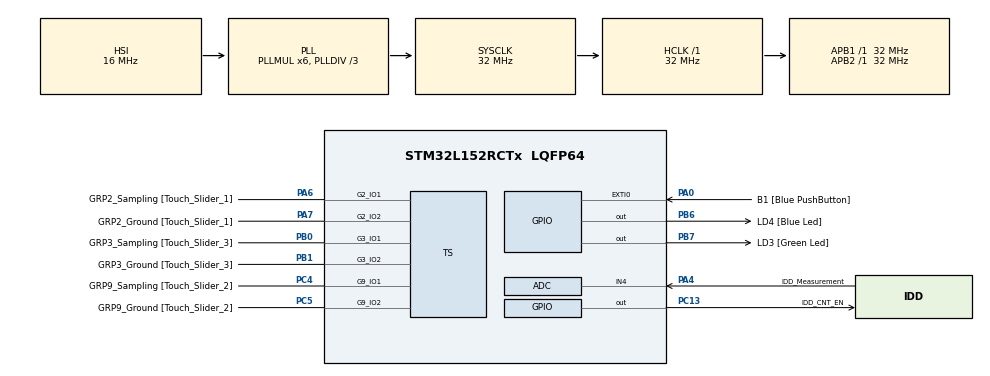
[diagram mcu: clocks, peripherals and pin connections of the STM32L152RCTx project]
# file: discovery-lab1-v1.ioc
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ADC.Channel=ADC_CHANNEL_4
ADC.Channel-0\#ChannelRegularConversion=ADC_CHANNEL_4
ADC.Channel-IN4=ADC_CHANNEL_4
ADC.ExternalTrigConv=ADC_EXTERNALTRIGCONV_T2_CC3
ADC.ExternalTrigConv-0\#ChannelRegularConversion=ADC_SOFTWARE_START
ADC.ExternalTrigConvEdge=ADC_EXTERNALTRIGCONVEDGE_RISING
ADC.Rank-0\#ChannelRegularConversion=1
ADC.SamplingTime-0\#ChannelRegularConversion=ADC_SAMPLETIME_4CYCLES
Mcu.Family=STM32L1
Mcu.Name=STM32L152RCTx
Mcu.Package=LQFP64
NVIC.PriorityGroup=NVIC_PRIORITYGROUP_0
PA0-WKUP1.GPIO_Label=B1 [Blue PushButton]
PA0-WKUP1.GPIO_ModeDefaultEXTI=GPIO_MODE_EVT_RISING
PA0-WKUP1.GPIO_PuPd=GPIO_NOPULL
PA0-WKUP1.Signal=GPXTI0
PA1.GPIO_Label=SEG0 [GH08172T_SEG0]
PA1.GPIO_Mode=GPIO_MODE_AF_PP
PA1.GPIO_PuPd=GPIO_NOPULL
PA1.GPIO_Speed=GPIO_SPEED_FREQ_LOW
PA1.Signal=LCD_SEG0
PA10.GPIO_Label=COM2 [GH08172T_COM2]
PA10.GPIO_Mode=GPIO_MODE_AF_PP
PA10.GPIO_PuPd=GPIO_NOPULL
PA10.GPIO_Speed=GPIO_SPEED_FREQ_LOW
PA10.Signal=LCD_COM2
PA13.GPIO_Label=SWDIO
PA13.Mode=Serial_Wire
PA13.Signal=SYS_JTMS-SWDIO
PA14.GPIO_Label=SWCLK
PA14.Mode=Serial_Wire
PA14.Signal=SYS_JTCK-SWCLK
PA15.GPIO_Label=SEG12 [GH08172T_SEG12]
PA15.GPIO_Mode=GPIO_MODE_AF_PP
PA15.GPIO_PuPd=GPIO_NOPULL
PA15.GPIO_Speed=GPIO_SPEED_FREQ_LOW
PA15.Signal=LCD_SEG17
PA2.GPIO_Label=SEG1 [GH08172T_SEG1]
PA2.GPIO_Mode=GPIO_MODE_AF_PP
PA2.GPIO_PuPd=GPIO_NOPULL
PA2.GPIO_Speed=GPIO_SPEED_FREQ_LOW
PA2.Signal=LCD_SEG1
PA3.GPIO_Label=SEG2 [GH08172T_SEG2]
PA3.GPIO_Mode=GPIO_MODE_AF_PP
PA3.GPIO_PuPd=GPIO_NOPULL
PA3.GPIO_Speed=GPIO_SPEED_FREQ_LOW
PA3.Signal=LCD_SEG2
PA4.GPIO_Label=IDD_Measurement
PA4.GPIO_Mode=GPIO_MODE_ANALOG
PA4.GPIO_PuPd=GPIO_NOPULL
PA4.Mode=IN4
PA4.Signal=ADC_IN4
PA6.GPIO_Label=GRP2_Sampling [Touch_Slider_1]
PA6.Mode=G2_IO1-Sampling
PA6.Signal=TS_G2_IO1
PA7.GPIO_Label=GRP2_Ground [Touch_Slider_1]
PA7.Mode=G2_IO2-Channel
PA7.Signal=TS_G2_IO2
PA8.GPIO_Label=COM0 [GH08172T_COM0]
PA8.GPIO_Mode=GPIO_MODE_AF_PP
PA8.GPIO_PuPd=GPIO_NOPULL
PA8.GPIO_Speed=GPIO_SPEED_FREQ_LOW
PA8.Signal=LCD_COM0
PA9.GPIO_Label=COM1 [GH08172T_COM1]
PA9.GPIO_Mode=GPIO_MODE_AF_PP
PA9.GPIO_PuPd=GPIO_NOPULL
PA9.GPIO_Speed=GPIO_SPEED_FREQ_LOW
PA9.Signal=LCD_COM1
PB0.GPIO_Label=GRP3_Sampling [Touch_Slider_3]
PB0.Mode=G3_IO1-Sampling
PB0.Signal=TS_G3_IO1
PB1.GPIO_Label=GRP3_Ground [Touch_Slider_3]
PB1.Mode=G3_IO2-Channel
PB1.Signal=TS_G3_IO2
PB10.GPIO_Label=SEG6 [GH08172T_SEG6]
PB10.GPIO_Mode=GPIO_MODE_AF_PP
PB10.GPIO_PuPd=GPIO_NOPULL
PB10.GPIO_Speed=GPIO_SPEED_FREQ_LOW
PB10.Signal=LCD_SEG10
PB11.GPIO_Label=SEG7 [GH08172T_SEG7]
PB11.GPIO_Mode=GPIO_MODE_AF_PP
PB11.GPIO_PuPd=GPIO_NOPULL
PB11.GPIO_Speed=GPIO_SPEED_FREQ_LOW
PB11.Signal=LCD_SEG11
PB12.GPIO_Label=SEG8 [GH08172T_SEG8]
PB12.GPIO_Mode=GPIO_MODE_AF_PP
PB12.GPIO_PuPd=GPIO_NOPULL
PB12.GPIO_Speed=GPIO_SPEED_FREQ_LOW
PB12.Signal=LCD_SEG12
PB13.GPIO_Label=SEG9 [GH08172T_SEG9]
PB13.GPIO_Mode=GPIO_MODE_AF_PP
PB13.GPIO_PuPd=GPIO_NOPULL
PB13.GPIO_Speed=GPIO_SPEED_FREQ_LOW
PB13.Signal=LCD_SEG13
PB14.GPIO_Label=SEG10 [GH08172T_SEG10]
PB14.GPIO_Mode=GPIO_MODE_AF_PP
PB14.GPIO_PuPd=GPIO_NOPULL
PB14.GPIO_Speed=GPIO_SPEED_FREQ_LOW
PB14.Signal=LCD_SEG14
PB15.GPIO_Label=SEG11 [GH08172T_SEG11]
PB15.GPIO_Mode=GPIO_MODE_AF_PP
PB15.GPIO_PuPd=GPIO_NOPULL
PB15.GPIO_Speed=GPIO_SPEED_FREQ_LOW
PB15.Signal=LCD_SEG15
PB3.GPIO_Label=SEG3 [GH08172T_SEG3]
PB3.GPIO_Mode=GPIO_MODE_AF_PP
PB3.GPIO_PuPd=GPIO_NOPULL
PB3.GPIO_Speed=GPIO_SPEED_FREQ_LOW
PB3.Signal=LCD_SEG7
PB4.GPIO_Label=SEG4 [GH08172T_SEG4]
PB4.GPIO_Mode=GPIO_MODE_AF_PP
PB4.GPIO_PuPd=GPIO_NOPULL
PB4.GPIO_Speed=GPIO_SPEED_FREQ_LOW
PB4.Signal=LCD_SEG8
PB5.GPIO_Label=SEG5 [GH08172T_SEG5]
PB5.GPIO_Mode=GPIO_MODE_AF_PP
PB5.GPIO_PuPd=GPIO_NOPULL
PB5.GPIO_Speed=GPIO_SPEED_FREQ_LOW
PB5.Signal=LCD_SEG9
PB6.GPIO_Label=LD4 [Blue Led]
PB6.GPIO_ModeDefaultOutputPP=GPIO_MODE_OUTPUT_PP
PB6.GPIO_PuPd=GPIO_NOPULL
PB6.GPIO_Speed=GPIO_SPEED_FREQ_LOW
PB6.Signal=GPIO_Output
PB7.GPIO_Label=LD3 [Green Led]
PB7.GPIO_ModeDefaultOutputPP=GPIO_MODE_OUTPUT_PP
PB7.GPIO_PuPd=GPIO_NOPULL
PB7.GPIO_Speed=GPIO_SPEED_FREQ_LOW
PB7.Signal=GPIO_Output
PB8.GPIO_Label=SEG13 [GH08172T_SEG13]
PB8.GPIO_Mode=GPIO_MODE_AF_PP
PB8.GPIO_PuPd=GPIO_NOPULL
PB8.GPIO_Speed=GPIO_SPEED_FREQ_LOW
PB8.Signal=LCD_SEG16
PB9.GPIO_Label=COM3 [GH08172T_COM3]
PB9.GPIO_Mode=GPIO_MODE_AF_PP
PB9.GPIO_PuPd=GPIO_NOPULL
PB9.GPIO_Speed=GPIO_SPEED_FREQ_LOW
PB9.Signal=LCD_COM3
PC0.GPIO_Label=SEG14 [GH08172T_SEG14]
PC0.GPIO_Mode=GPIO_MODE_AF_PP
PC0.GPIO_PuPd=GPIO_NOPULL
PC0.GPIO_Speed=GPIO_SPEED_FREQ_LOW
PC0.Signal=LCD_SEG18
PC1.GPIO_Label=SEG15 [GH08172T_SEG15]
PC1.GPIO_Mode=GPIO_MODE_AF_PP
PC1.GPIO_PuPd=GPIO_NOPULL
PC1.GPIO_Speed=GPIO_SPEED_FREQ_LOW
PC1.Signal=LCD_SEG19
PC10.GPIO_Label=SEG22 [GH08172T_SEG22]
PC10.GPIO_Mode=GPIO_MODE_AF_PP
PC10.GPIO_PuPd=GPIO_NOPULL
PC10.GPIO_Speed=GPIO_SPEED_FREQ_LOW
PC10.Signal=LCD_SEG28
PC11.GPIO_Label=SEG23 [GH08172T_SEG23]
PC11.GPIO_Mode=GPIO_MODE_AF_PP
PC11.GPIO_PuPd=GPIO_NOPULL
PC11.GPIO_Speed=GPIO_SPEED_FREQ_LOW
PC11.Signal=LCD_SEG29
PC13-WKUP2.GPIO_Label=IDD_CNT_EN
PC13-WKUP2.Signal=GPIO_Output
PC14-OSC32_IN.GPIO_Label=PC14-OSC32_IN
PC14-OSC32_IN.Mode=LSE-External-Oscillator
PC14-OSC32_IN.Signal=RCC_OSC32_IN
PC15-OSC32_OUT.GPIO_Label=PC15-OSC32_OUT
PC15-OSC32_OUT.Mode=LSE-External-Oscillator
PC15-OSC32_OUT.Signal=RCC_OSC32_OUT
PC2.GPIO_Label=SEG16 [GH08172T_SEG16]
PC2.GPIO_Mode=GPIO_MODE_AF_PP
PC2.GPIO_PuPd=GPIO_NOPULL
PC2.GPIO_Speed=GPIO_SPEED_FREQ_LOW
PC2.Signal=LCD_SEG20
PC3.GPIO_Label=SEG17 [GH08172T_SEG17]
PC3.GPIO_Mode=GPIO_MODE_AF_PP
PC3.GPIO_PuPd=GPIO_NOPULL
PC3.GPIO_Speed=GPIO_SPEED_FREQ_LOW
PC3.Signal=LCD_SEG21
PC4.GPIO_Label=GRP9_Sampling [Touch_Slider_2]
PC4.Mode=G9_IO1-Sampling
PC4.Signal=TS_G9_IO1
PC5.GPIO_Label=GRP9_Ground [Touch_Slider_2]
PC5.Mode=G9_IO2-Channel
PC5.Signal=TS_G9_IO2
PC6.GPIO_Label=SEG18 [GH08172T_SEG18]
PC6.GPIO_Mode=GPIO_MODE_AF_PP
PC6.GPIO_PuPd=GPIO_NOPULL
PC6.GPIO_Speed=GPIO_SPEED_FREQ_LOW
PC6.Signal=LCD_SEG24
PC7.GPIO_Label=SEG19 [GH08172T_SEG19]
PC7.GPIO_Mode=GPIO_MODE_AF_PP
PC7.GPIO_PuPd=GPIO_NOPULL
PC7.GPIO_Speed=GPIO_SPEED_FREQ_LOW
PC7.Signal=LCD_SEG25
PC8.GPIO_Label=SEG20 [GH08172T_SEG20]
PC8.GPIO_Mode=GPIO_MODE_AF_PP
PC8.GPIO_PuPd=GPIO_NOPULL
PC8.GPIO_Speed=GPIO_SPEED_FREQ_LOW
PC8.Signal=LCD_SEG26
PC9.GPIO_Label=SEG21 [GH08172T_SEG21]
PC9.GPIO_Mode=GPIO_MODE_AF_PP
PC9.GPIO_PuPd=GPIO_NOPULL
PC9.GPIO_Speed=GPIO_SPEED_FREQ_LOW
PC9.Signal=LCD_SEG27
ProjectManager.HeapSize=0x200
ProjectManager.StackSize=0x400
ProjectManager.TargetToolchain=STM32CubeIDE
RCC.48MHZClocksFreq_Value=48000000
RCC.AHBFreq_Value=32000000
RCC.APB1Freq_Value=32000000
RCC.APB1TimFreq_Value=32000000
RCC.APB2Freq_Value=32000000
RCC.APB2TimFreq_Value=32000000
RCC.HCLKFreq_Value=32000000
RCC.HSE_VALUE=8000000
RCC.HSI_VALUE=16000000
RCC.MSI_VALUE=2097000
RCC.PLLDIV=RCC_PLL_DIV3
RCC.PLLMUL=RCC_PLL_MUL6
RCC.RTCClockSelectionVirtual=RCC_RTCCLKSOURCE_LSE
RCC.SYSCLKFreq_VALUE=32000000
RCC.SYSCLKSource=RCC_SYSCLKSOURCE_PLLCLK
RCC.USBOutput=48000000
RCC.VCOOutputFreq_Value=96000000
board=STM32L152C-DISCO

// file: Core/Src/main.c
/* USER CODE BEGIN Header */
/**
  ******************************************************************************
  * @file           : main.c
  * @brief          : Main program body
  ******************************************************************************
  * @attention
  *
  * Copyright (c) 2023 STMicroelectronics.
  * All rights reserved.
  *
  * This software is licensed under terms that can be found in the LICENSE file
  * in the root directory of this software component.
  * If no LICENSE file comes with this software, it is provided AS-IS.
  *
  ******************************************************************************
  */
/* USER CODE END Header */
#include "main.h"

ADC_HandleTypeDef hadc;

void SystemClock_Config(void);
static void MX_GPIO_Init(void);
static void MX_ADC_Init(void);
static void MX_TS_Init(void);

/* USER CODE BEGIN 0 */

/*
 * Waits a specific number of seconds approx.
 */
void espera(char seconds) {
  for (int i=0; i<(seconds*2000000); i++);
}

/*
 * Initializes the pins of the motors as digital output with default.
 * 	type and speed
 */
void initMotorPin(MotorPin *motor_pin, GPIO_TypeDef *gpio, char pin) {
  motor_pin->gpio = gpio;
  motor_pin->pin = pin;

  gpio->MODER &= ~(1 << (pin*2 + 1));
  gpio->MODER |= (1 << (pin*2));

  gpio->OTYPER &= ~(1 << pin);

  gpio->OSPEEDR &= ~(1 << (pin*2 +1));
  gpio->OSPEEDR &= ~(1 << (pin*2));
}

/*
 * Initializes the motor with the corresponding pins.
 */
void initMotor(Motor *motor, MotorPin *pin_1, MotorPin *pin_2) {
  motor->pin_1 = *pin_1;
  motor->pin_2 = *pin_2;
}

/*
 * Initializes the robot with the motors and stops it.
 */
void initRobot(Robot *robot, Motor *motor_right, Motor *motor_left) {
  robot->motor_right = *motor_right;
  robot->motor_left = *motor_left;

  updateStatusRobot(robot, ROBOT_STOPPED);
}

/*
 * Updates the status of the motor pin and calls to implement the status.
 */
void updateStatusMotorPin(MotorPin *motor_pin, StatusMotorPin status) {
  motor_pin->status = status;
  updateMotorPin(motor_pin);
}

/*
 * Updates the status of the motor and calls to implement the status.
 */
void updateStatusMotor(Motor *motor, StatusMotor status) {
  motor->status = status;
  updateMotor(motor);
}

/*
 * Updates the status of the motor and calls to implement the status.
 */
void updateStatusRobot(Robot *robot, StatusRobot status) {
  robot->status = status;
  updateRobot(robot);
}

/*
 * Updates the motor pin depending of its status
 * 	MOTOR_PIN_UP: sets the BSRR register to set the pin to 1
 * 	MOTOR_PIN_DOWN: sets the BSRR register to set the pin to 0
 */
void updateMotorPin(MotorPin *motor_pin) {
  switch (motor_pin->status) {
    case MOTOR_PIN_UP:
      motor_pin->gpio->BSRR |= (1 << motor_pin->pin);

      break;
    case MOTOR_PIN_DOWN:
      motor_pin->gpio->BSRR |= (1 << motor_pin->pin) << 16;

      break;
  }

}

/*
 * Updates the motor depending of its status
 * 	MOTOR_STOPPED: sets the motor to stop
 * 	MOTOR_FORWARD: sets the motor to forward with respect to the whole robot
 * 	MOTOR_BACKWARD: sets the motor to backward with respect to the whole robot
 *
 * 	This is important as one motor cables are swapped to correct that it is flip. (hardware)
 */
void updateMotor(Motor *motor) {
  StatusMotorPin status_motor_pin_1, status_motor_pin_2;

  switch (motor->status) {
    case MOTOR_STOPPED:
      status_motor_pin_1 = MOTOR_PIN_UP;
      status_motor_pin_2 = MOTOR_PIN_UP;

      break;
    case MOTOR_FORWARD:
      status_motor_pin_1 = MOTOR_PIN_UP;
      status_motor_pin_2 = MOTOR_PIN_DOWN;

      break;
    case MOTOR_BACKWARD:
      status_motor_pin_1 = MOTOR_PIN_DOWN;
      status_motor_pin_2 = MOTOR_PIN_UP;

      break;
  }

  updateStatusMotorPin(&(motor->pin_1), status_motor_pin_1);
  updateStatusMotorPin(&(motor->pin_2), status_motor_pin_2);

}

/*
 * Updates the robot to its according status
 * 	All the movements are with respect to the whole robot.
 */
void updateRobot(Robot *robot) {
  StatusMotor status_motor_right, status_motor_left;

  switch (robot->status) {
      case ROBOT_STOPPED:
        status_motor_right = MOTOR_STOPPED;
        status_motor_left = MOTOR_STOPPED;

        break;
      case ROBOT_FORWARD:
        status_motor_right = MOTOR_FORWARD;
        status_motor_left = MOTOR_FORWARD;

        break;
      case ROBOT_BACKWARD:
        status_motor_right = MOTOR_BACKWARD;
        status_motor_left = MOTOR_BACKWARD;

        break;
      case ROBOT_RIGHT:
        status_motor_right = MOTOR_BACKWARD;
        status_motor_left = MOTOR_FORWARD;

        break;
      case ROBOT_LEFT:
        status_motor_right = MOTOR_FORWARD;
        status_motor_left = MOTOR_BACKWARD;

        break;
    }

  updateStatusMotor(&(robot->motor_right), status_motor_right);
  updateStatusMotor(&(robot->motor_left), status_motor_left);
}

/* USER CODE END 0 */

int main(void)
{

  /* MCU Configpinsuration--------------------------------------------------------*/

  /* Reset of all peripherals, Initializes the Flash interface and the Systick. */
  HAL_Init();

  /* Configure the system clock */
  SystemClock_Config();

  /* Initialize all configured peripherals */
  MX_GPIO_Init();
  MX_ADC_Init();
  MX_TS_Init();
  /* USER CODE BEGIN 2 */

  MotorPin pin_1_motor_right, pin_2_motor_right;
  Motor motor_right;

  // Motor right is set to the output of the left driver (due to the placement of the driver)
  initMotorPin(&pin_1_motor_right, GPIOB, 9);
  initMotorPin(&pin_2_motor_right, GPIOA, 12);
  initMotor(&motor_right, &pin_1_motor_right, &pin_2_motor_right);

  MotorPin pin_1_motor_left, pin_2_motor_left;
  Motor motor_left;

  // Motor left is set to the output of the right driver (due to the placement of the driver)
  initMotorPin(&pin_1_motor_left, GPIOB, 8);
  initMotorPin(&pin_2_motor_left, GPIOA, 11);
  initMotor(&motor_left, &pin_1_motor_left, &pin_2_motor_left);

  Robot robot;

  initRobot(&robot, &motor_right, &motor_left);

  /* USER CODE END 2 */

  /* Infinite loop */
  /* USER CODE BEGIN WHILE */
  while (1)
  {
    updateStatusRobot(&robot, ROBOT_FORWARD);
    espera(2);
    updateStatusRobot(&robot, ROBOT_STOPPED);
    espera(1);
    updateStatusRobot(&robot, ROBOT_BACKWARD);
    espera(2);
    updateStatusRobot(&robot, ROBOT_STOPPED);
    espera(1);
    /* USER CODE END WHILE */

  }
}

void SystemClock_Config(void)
{
  RCC_OscInitTypeDef RCC_OscInitStruct = {0};
  RCC_ClkInitTypeDef RCC_ClkInitStruct = {0};

  /** Configure the main internal regulator output voltage
  */
  __HAL_PWR_VOLTAGESCALING_CONFIG(PWR_REGULATOR_VOLTAGE_SCALE1);

  /** Initializes the RCC Oscillators according to the specified parameters
  * in the RCC_OscInitTypeDef structure.
  */
  RCC_OscInitStruct.OscillatorType = RCC_OSCILLATORTYPE_HSI;
  RCC_OscInitStruct.HSIState = RCC_HSI_ON;
  RCC_OscInitStruct.HSICalibrationValue = RCC_HSICALIBRATION_DEFAULT;
  RCC_OscInitStruct.PLL.PLLState = RCC_PLL_ON;
  RCC_OscInitStruct.PLL.PLLSource = RCC_PLLSOURCE_HSI;
  RCC_OscInitStruct.PLL.PLLMUL = RCC_PLL_MUL6;
  RCC_OscInitStruct.PLL.PLLDIV = RCC_PLL_DIV3;
  if (HAL_RCC_OscConfig(&RCC_OscInitStruct) != HAL_OK)
  {
    Error_Handler();
  }

  /** Initializes the CPU, AHB and APB buses clocks
  */
  RCC_ClkInitStruct.ClockType = RCC_CLOCKTYPE_HCLK|RCC_CLOCKTYPE_SYSCLK
                              |RCC_CLOCKTYPE_PCLK1|RCC_CLOCKTYPE_PCLK2;
  RCC_ClkInitStruct.SYSCLKSource = RCC_SYSCLKSOURCE_PLLCLK;
  RCC_ClkInitStruct.AHBCLKDivider = RCC_SYSCLK_DIV1;
  RCC_ClkInitStruct.APB1CLKDivider = RCC_HCLK_DIV1;
  RCC_ClkInitStruct.APB2CLKDivider = RCC_HCLK_DIV1;

  if (HAL_RCC_ClockConfig(&RCC_ClkInitStruct, FLASH_LATENCY_1) != HAL_OK)
  {
    Error_Handler();
  }
}

static void MX_ADC_Init(void)
{

  ADC_ChannelConfTypeDef sConfig = {0};

  /** Configure the global features of the ADC (Clock, Resolution, Data Alignment and number of conversion)
  */
  hadc.Instance = ADC1;
  hadc.Init.ClockPrescaler = ADC_CLOCK_ASYNC_DIV1;
  hadc.Init.Resolution = ADC_RESOLUTION_12B;
  hadc.Init.DataAlign = ADC_DATAALIGN_RIGHT;
  hadc.Init.ScanConvMode = ADC_SCAN_DISABLE;
  hadc.Init.EOCSelection = ADC_EOC_SEQ_CONV;
  hadc.Init.LowPowerAutoWait = ADC_AUTOWAIT_DISABLE;
  hadc.Init.LowPowerAutoPowerOff = ADC_AUTOPOWEROFF_DISABLE;
  hadc.Init.ChannelsBank = ADC_CHANNELS_BANK_A;
  hadc.Init.ContinuousConvMode = DISABLE;
  hadc.Init.NbrOfConversion = 1;
  hadc.Init.DiscontinuousConvMode = DISABLE;
  hadc.Init.ExternalTrigConv = ADC_EXTERNALTRIGCONV_T2_CC3;
  hadc.Init.ExternalTrigConvEdge = ADC_EXTERNALTRIGCONVEDGE_RISING;
  hadc.Init.DMAContinuousRequests = DISABLE;
  if (HAL_ADC_Init(&hadc) != HAL_OK)
  {
    Error_Handler();
  }

  /** Configure for the selected ADC regular channel its corresponding rank in the sequencer and its sample time.
  */
  sConfig.Channel = ADC_CHANNEL_4;
  sConfig.Rank = ADC_REGULAR_RANK_1;
  sConfig.SamplingTime = ADC_SAMPLETIME_4CYCLES;
  if (HAL_ADC_ConfigChannel(&hadc, &sConfig) != HAL_OK)
  {
    Error_Handler();
  }

}

static void MX_TS_Init(void)
{

}

static void MX_GPIO_Init(void)
{
  GPIO_InitTypeDef GPIO_InitStruct = {0};

  /* GPIO Ports Clock Enable */
  __HAL_RCC_GPIOC_CLK_ENABLE();
  __HAL_RCC_GPIOA_CLK_ENABLE();
  __HAL_RCC_GPIOB_CLK_ENABLE();

  /*Configure GPIO pin Output Level */
  HAL_GPIO_WritePin(IDD_CNT_EN_GPIO_Port, IDD_CNT_EN_Pin, GPIO_PIN_RESET);

  /*Configure GPIO pin Output Level */
  HAL_GPIO_WritePin(GPIOB, LD4_Pin|LD3_Pin, GPIO_PIN_RESET);

  /*Configure GPIO pin : IDD_CNT_EN_Pin */
  GPIO_InitStruct.Pin = IDD_CNT_EN_Pin;
  GPIO_InitStruct.Mode = GPIO_MODE_OUTPUT_PP;
  GPIO_InitStruct.Pull = GPIO_NOPULL;
  GPIO_InitStruct.Speed = GPIO_SPEED_FREQ_LOW;
  HAL_GPIO_Init(IDD_CNT_EN_GPIO_Port, &GPIO_InitStruct);

  /*Configure GPIO pins : SEG14_Pin SEG15_Pin SEG16_Pin SEG17_Pin
                           SEG18_Pin SEG19_Pin SEG20_Pin SEG21_Pin
                           SEG22_Pin SEG23_Pin */
  GPIO_InitStruct.Pin = SEG14_Pin|SEG15_Pin|SEG16_Pin|SEG17_Pin
                          |SEG18_Pin|SEG19_Pin|SEG20_Pin|SEG21_Pin
                          |SEG22_Pin|SEG23_Pin;
  GPIO_InitStruct.Mode = GPIO_MODE_AF_PP;
  GPIO_InitStruct.Pull = GPIO_NOPULL;
  GPIO_InitStruct.Speed = GPIO_SPEED_FREQ_LOW;
  GPIO_InitStruct.Alternate = GPIO_AF11_LCD;
  HAL_GPIO_Init(GPIOC, &GPIO_InitStruct);

  /*Configure GPIO pin : B1_Pin */
  GPIO_InitStruct.Pin = B1_Pin;
  GPIO_InitStruct.Mode = GPIO_MODE_EVT_RISING;
  GPIO_InitStruct.Pull = GPIO_NOPULL;
  HAL_GPIO_Init(B1_GPIO_Port, &GPIO_InitStruct);

  /*Configure GPIO pins : SEG0_Pin SEG1_Pin SEG2_Pin COM0_Pin
                           COM1_Pin COM2_Pin SEG12_Pin */
  GPIO_InitStruct.Pin = SEG0_Pin|SEG1_Pin|SEG2_Pin|COM0_Pin
                          |COM1_Pin|COM2_Pin|SEG12_Pin;
  GPIO_InitStruct.Mode = GPIO_MODE_AF_PP;
  GPIO_InitStruct.Pull = GPIO_NOPULL;
  GPIO_InitStruct.Speed = GPIO_SPEED_FREQ_LOW;
  GPIO_InitStruct.Alternate = GPIO_AF11_LCD;
  HAL_GPIO_Init(GPIOA, &GPIO_InitStruct);

  /*Configure GPIO pins : SEG6_Pin SEG7_Pin SEG8_Pin SEG9_Pin
                           SEG10_Pin SEG11_Pin SEG3_Pin SEG4_Pin
                           SEG5_Pin SEG13_Pin COM3_Pin */
  GPIO_InitStruct.Pin = SEG6_Pin|SEG7_Pin|SEG8_Pin|SEG9_Pin
                          |SEG10_Pin|SEG11_Pin|SEG3_Pin|SEG4_Pin
                          |SEG5_Pin|SEG13_Pin|COM3_Pin;
  GPIO_InitStruct.Mode = GPIO_MODE_AF_PP;
  GPIO_InitStruct.Pull = GPIO_NOPULL;
  GPIO_InitStruct.Speed = GPIO_SPEED_FREQ_LOW;
  GPIO_InitStruct.Alternate = GPIO_AF11_LCD;
  HAL_GPIO_Init(GPIOB, &GPIO_InitStruct);

  /*Configure GPIO pins : LD4_Pin LD3_Pin */
  GPIO_InitStruct.Pin = LD4_Pin|LD3_Pin;
  GPIO_InitStruct.Mode = GPIO_MODE_OUTPUT_PP;
  GPIO_InitStruct.Pull = GPIO_NOPULL;
  GPIO_InitStruct.Speed = GPIO_SPEED_FREQ_LOW;
  HAL_GPIO_Init(GPIOB, &GPIO_InitStruct);

}

void Error_Handler(void)
{
  __disable_irq();
  while (1)
  {
  }
}
